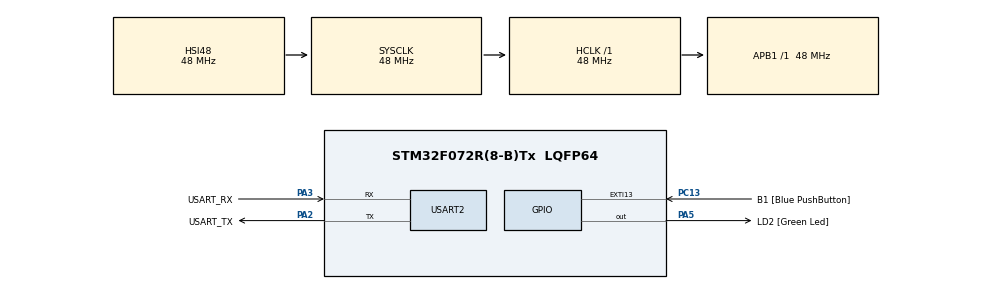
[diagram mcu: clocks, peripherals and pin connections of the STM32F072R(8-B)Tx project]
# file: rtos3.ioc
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FREERTOS.Tasks01=defaultTask,24,128,StartDefaultTask,Default,NULL,Dynamic,NULL,NULL
Mcu.Family=STM32F0
Mcu.Name=STM32F072R(8-B)Tx
Mcu.Package=LQFP64
NVIC.TIM14_IRQn=true\:3\:0\:false\:false\:true\:false\:false\:true\:true
NVIC.TimeBase=TIM14_IRQn
NVIC.TimeBaseIP=TIM14
PA13.GPIO_Label=TMS
PA13.Mode=Serial_Wire
PA13.Signal=SYS_SWDIO
PA14.GPIO_Label=TCK
PA14.Mode=Serial_Wire
PA14.Signal=SYS_SWCLK
PA2.GPIO_Label=USART_TX
PA2.GPIO_Mode=GPIO_MODE_AF_PP
PA2.GPIO_PuPd=GPIO_NOPULL
PA2.GPIO_Speed=GPIO_SPEED_FREQ_LOW
PA2.Mode=Asynchronous
PA2.Signal=USART2_TX
PA3.GPIO_Label=USART_RX
PA3.GPIO_Mode=GPIO_MODE_AF_PP
PA3.GPIO_PuPd=GPIO_NOPULL
PA3.GPIO_Speed=GPIO_SPEED_FREQ_LOW
PA3.Mode=Asynchronous
PA3.Signal=USART2_RX
PA5.GPIO_Label=LD2 [Green Led]
PA5.GPIO_Mode=GPIO_MODE_OUTPUT_PP
PA5.GPIO_PuPd=GPIO_NOPULL
PA5.GPIO_Speed=GPIO_SPEED_FREQ_LOW
PA5.Signal=GPIO_Output
PC13.GPIO_Label=B1 [Blue PushButton]
PC13.GPIO_ModeDefaultEXTI=GPIO_MODE_IT_FALLING
PC13.Signal=GPXTI13
PC14-OSC32_IN.Mode=LSE-External-Oscillator
PC14-OSC32_IN.Signal=RCC_OSC32_IN
PC15-OSC32_OUT.Mode=LSE-External-Oscillator
PC15-OSC32_OUT.Signal=RCC_OSC32_OUT
PF0-OSC_IN.Mode=HSE-External-Clock-Source
PF0-OSC_IN.Signal=RCC_OSC_IN
PF1-OSC_OUT.Signal=RCC_OSC_OUT
ProjectManager.HeapSize=0x200
ProjectManager.StackSize=0x400
ProjectManager.TargetToolchain=STM32CubeIDE
RCC.AHBFreq_Value=48000000
RCC.APB1Freq_Value=48000000
RCC.APB1TimFreq_Value=48000000
RCC.FLatency-AdvancedSettings=FLASH_LATENCY_1
RCC.HCLKFreq_Value=48000000
RCC.PLLDivider=RCC_PREDIV_DIV2
RCC.PLLMUL=RCC_PLL_MUL12
RCC.PREFETCH_ENABLE-AdvancedSettings=1
RCC.SYSCLKFreq_VALUE=48000000
RCC.SYSCLKSource=RCC_SYSCLKSOURCE_HSI48
USART2.VirtualMode=VM_ASYNC
USART2.VirtualMode-Asynchronous=VM_ASYNC
VP_FREERTOS_VS_CMSIS_V2.Mode=CMSIS_V2
VP_SYS_VS_tim14.Mode=TIM14
board=NUCLEO-F072RB

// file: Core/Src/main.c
/* USER CODE BEGIN Header */
/**
  ******************************************************************************
  * @file           : main.c
  * @brief          : Main program body
  ******************************************************************************
  * @attention
  *
  * Copyright (c) 2026 STMicroelectronics.
  * All rights reserved.
  *
  * This software is licensed under terms that can be found in the LICENSE file
  * in the root directory of this software component.
  * If no LICENSE file comes with this software, it is provided AS-IS.
  *
  ******************************************************************************
  */
/* USER CODE END Header */
#include "main.h"
#include "cmsis_os.h"
#include <string.h>
#include <stdio.h>
//#include "semphr.h"

//osThreadId_t task1Handle;
//osThreadId_t task2Handle;
//osThreadId_t producerTaskHandle;
//osThreadId_t recieverTaskHandle;

osThreadId_t nav1TaskHandle;
osThreadId_t nav2TaskHandle;
osThreadId_t workerTaskHandle;
osSemaphoreId_t navSemaphoreHandle;
osTimerId_t heartbeatTimerHandle;

/* USER CODE BEGIN Includes */
osMutexId_t uartMutexHandle;
const osMutexAttr_t uartMutex_attrs = {
  .name = "uartMutex"
};

osMessageQueueId_t MessageQueueHandle;
/* USER CODE END Includes */

UART_HandleTypeDef huart2;

/* Definitions for defaultTask */
osThreadId_t defaultTaskHandle;
const osThreadAttr_t defaultTask_attributes = {
  .name = "defaultTask",
  .stack_size = 128 * 4,
  .priority = (osPriority_t) osPriorityNormal,
};
/* USER CODE BEGIN PV */
typedef struct {
    uint32_t roll;
    uint32_t pitch;
} messageQueue_t;
typedef struct {
    uint32_t latitude;
    uint32_t altitude;
    uint32_t direction;
} NavData_t;

NavData_t navData; // global so both tasks can see it
/* USER CODE END PV */

void SystemClock_Config(void);
static void MX_GPIO_Init(void);
static void MX_USART2_UART_Init(void);
void StartDefaultTask(void *argument);

/*
const osThreadAttr_t task1_attrs = {
		.name = "Task 1",
		.priority = osPriorityNormal,
		.stack_size = 256
};
const osThreadAttr_t task2_attrs = {
		.name = "Task 2",
		.priority = osPriorityHigh,
		.stack_size = 256
};

const osThreadAttr_t producer_attrs = {
    .name = "Producer Task",
    .priority = osPriorityNormal,
    .stack_size = 128 * 4
};
const osThreadAttr_t reciever_attrs = {
    .name = "Receiver Task",
    .priority = osPriorityNormal,
    .stack_size = 128 * 4
};
*/
const osThreadAttr_t nav1_attrs = {
		.name = "Task 1",
		.priority = osPriorityNormal,
		.stack_size = 128*4,
};
const osThreadAttr_t nav2_attrs = {
		.name = "Task 2",
		.priority = osPriorityNormal,
		.stack_size = 128*4,
};
const osThreadAttr_t worker_attrs = {
		.name = "Worker Task",
		.priority = osPriorityAboveNormal,
		.stack_size = 128*4,
};
/*
void Task1(void *arguement){
	const char *msg = "[TELEMETRY] System\r\n";
	for(;;){
	if (osMutexAcquire(uartMutexHandle, osWaitForever) == osOK) {
	HAL_UART_Transmit(&huart2, (uint8_t*)msg, strlen(msg), HAL_MAX_DELAY);
	 osMutexRelease(uartMutexHandle);
	}
	osDelay(500);
	}
}
void Task2(void *arguement){
	const char *msg = "[ALERT] Engine\r\n";
	for(;;){
	if (osMutexAcquire(uartMutexHandle, osWaitForever) == osOK) {
	HAL_UART_Transmit(&huart2, (uint8_t*)msg, strlen(msg), HAL_MAX_DELAY);
	 osMutexRelease(uartMutexHandle);
	}
	osDelay(3000);
	}
}
*/

/*
void ProducerTask(void *arguement){
	messageQueue_t msg;
	for(;;){
		msg.pitch = 10;
		msg.roll = 34;
		osMessageQueuePut(MessageQueueHandle, &msg, 0, 0);
		osDelay(1000);

	}
}

void RecieverTask(void *arguement){
	messageQueue_t msg;
	for(;;){
		if (osMessageQueueGet(MessageQueueHandle, &msg, 0, osWaitForever) == osOK)
			  {
			char buf[50];
			snprintf(buf, sizeof(buf), "Pitch: %lu, Roll: %lu\r\n", msg.pitch, msg.roll);
			HAL_UART_Transmit(&huart2, (uint8_t*)buf, strlen(buf), HAL_MAX_DELAY);
			  }

	}
}
*/
void nav1Task(void *arguement){
	for(;;){
		osSemaphoreAcquire(navSemaphoreHandle,osWaitForever);
		navData.latitude = 48;
		navData.altitude = 1200;
		navData.direction = 270;
		char buf[50];
		snprintf(buf, sizeof(buf), "[NAV1] Writing - Lat: %lu, Alt: %lu, Dir: %lu\r\n", navData.latitude, navData.altitude, navData.direction);
		HAL_UART_Transmit(&huart2, (uint8_t*)buf, strlen(buf), HAL_MAX_DELAY);
		osSemaphoreRelease(navSemaphoreHandle);
		osDelay(1000);

	}
}
void nav2Task(void *arguement){

	for(;;){
	osStatus_t status = osSemaphoreAcquire(navSemaphoreHandle, osWaitForever);

	if (status == osOK) {
		char buf[50];
		snprintf(buf, sizeof(buf), "[NAV2] Reading - Lat: %lu, Alt: %lu, Dir: %lu\r\n",
		         navData.latitude, navData.altitude, navData.direction);
		HAL_UART_Transmit(&huart2, (uint8_t*)buf, strlen(buf), HAL_MAX_DELAY);
		osSemaphoreRelease(navSemaphoreHandle);
		osDelay(1000);
	}
	}

}
void workerTask(void *argument){
    for(;;){
        HAL_UART_Transmit(&huart2, (uint8_t*)"[STATUS] Navigation: Online\r\n",
                          strlen("[STATUS] Navigation: Online\r\n"), HAL_MAX_DELAY);
        osDelay(2000);
        HAL_UART_Transmit(&huart2, (uint8_t*)"[STATUS] Sensors: Online\r\n",
                          strlen("[STATUS] Sensors: Online\r\n"), HAL_MAX_DELAY);
        osDelay(2000);
        HAL_UART_Transmit(&huart2, (uint8_t*)"[STATUS] Comms: Online\r\n",
                          strlen("[STATUS] Comms: Online\r\n"), HAL_MAX_DELAY);
        osDelay(2000);
    }
}
void heartbeatCallback(void *argument)
{
    HAL_UART_Transmit(&huart2, (uint8_t*)"[HEARTBEAT] System alive\r\n", 26, HAL_MAX_DELAY);
}

int main(void)
{

  /* MCU Configuration--------------------------------------------------------*/

  /* Reset of all peripherals, Initializes the Flash interface and the Systick. */
  HAL_Init();

  /* Configure the system clock */
  SystemClock_Config();

  /* Initialize all configured peripherals */
  MX_GPIO_Init();
  MX_USART2_UART_Init();
  /* USER CODE BEGIN 2 */
  char msg[] = "Hello World\r\n";
  HAL_UART_Transmit(&huart2, (uint8_t*)msg, sizeof(msg)-1, HAL_MAX_DELAY);
  /* USER CODE END 2 */

  /* Init scheduler */
  osKernelInitialize();

  /* USER CODE BEGIN RTOS_MUTEX */
  /* add mutexes, ... */
  //uartMutexHandle = osMutexNew(&uartMutex_attrs);
  /* USER CODE END RTOS_MUTEX */

  /* USER CODE BEGIN RTOS_SEMAPHORES */
  /* add semaphores, ... */
  navSemaphoreHandle = osSemaphoreNew(1, 1, NULL);
  /* USER CODE END RTOS_SEMAPHORES */

  /* USER CODE BEGIN RTOS_TIMERS */
  /* start timers, add new ones, ... */
  heartbeatTimerHandle = osTimerNew(heartbeatCallback, osTimerPeriodic, NULL, NULL);
  osTimerStart(heartbeatTimerHandle, 1000);
  /* USER CODE END RTOS_TIMERS */

  /* USER CODE BEGIN RTOS_QUEUES */
  //MessageQueueHandle = osMessageQueueNew(5, sizeof(messageQueue_t), NULL);
  //if(MessageQueueHandle == NULL)
  //{
      // queue creation failed
    //  while(1);
 // }
  /* USER CODE END RTOS_QUEUES */

  /* Create the thread(s) */
  /* creation of defaultTask */
  defaultTaskHandle = osThreadNew(StartDefaultTask, NULL, &defaultTask_attributes);

  /* USER CODE BEGIN RTOS_THREADS */
  //task1Handle = osThreadNew(Task1, NULL, &task1_attrs);
  //task2Handle = osThreadNew(Task2, NULL, &task2_attrs);
  //1producerTaskHandle = osThreadNew(ProducerTask,NULL,&producer_attrs);
  //recieverTaskHandle = osThreadNew(RecieverTask, NULL, &reciever_attrs);
 // nav1TaskHandle = osThreadNew(nav1Task, NULL, &nav1_attrs);
  //nav2TaskHandle = osThreadNew(nav2Task, NULL, &nav2_attrs);
  workerTaskHandle = osThreadNew(workerTask, NULL, &worker_attrs);
  /* USER CODE END RTOS_THREADS */

  /* Start scheduler */
  osKernelStart();

  /* We should never get here as control is now taken by the scheduler */

  /* Infinite loop */
  while (1)
  {

  }
}

void SystemClock_Config(void)
{
  RCC_OscInitTypeDef RCC_OscInitStruct = {0};
  RCC_ClkInitTypeDef RCC_ClkInitStruct = {0};
  RCC_PeriphCLKInitTypeDef PeriphClkInit = {0};

  /** Initializes the RCC Oscillators according to the specified parameters
  * in the RCC_OscInitTypeDef structure.
  */
  RCC_OscInitStruct.OscillatorType = RCC_OSCILLATORTYPE_HSI48;
  RCC_OscInitStruct.HSI48State = RCC_HSI48_ON;
  RCC_OscInitStruct.PLL.PLLState = RCC_PLL_NONE;
  if (HAL_RCC_OscConfig(&RCC_OscInitStruct) != HAL_OK)
  {
    Error_Handler();
  }

  /** Initializes the CPU, AHB and APB buses clocks
  */
  RCC_ClkInitStruct.ClockType = RCC_CLOCKTYPE_HCLK|RCC_CLOCKTYPE_SYSCLK
                              |RCC_CLOCKTYPE_PCLK1;
  RCC_ClkInitStruct.SYSCLKSource = RCC_SYSCLKSOURCE_HSI48;
  RCC_ClkInitStruct.AHBCLKDivider = RCC_SYSCLK_DIV1;
  RCC_ClkInitStruct.APB1CLKDivider = RCC_HCLK_DIV1;

  if (HAL_RCC_ClockConfig(&RCC_ClkInitStruct, FLASH_LATENCY_1) != HAL_OK)
  {
    Error_Handler();
  }
  PeriphClkInit.PeriphClockSelection = RCC_PERIPHCLK_USART2;
  PeriphClkInit.Usart2ClockSelection = RCC_USART2CLKSOURCE_PCLK1;
  if (HAL_RCCEx_PeriphCLKConfig(&PeriphClkInit) != HAL_OK)
  {
    Error_Handler();
  }
}

static void MX_USART2_UART_Init(void)
{

  huart2.Instance = USART2;
  huart2.Init.BaudRate = 38400;
  huart2.Init.WordLength = UART_WORDLENGTH_8B;
  huart2.Init.StopBits = UART_STOPBITS_1;
  huart2.Init.Parity = UART_PARITY_NONE;
  huart2.Init.Mode = UART_MODE_TX_RX;
  huart2.Init.HwFlowCtl = UART_HWCONTROL_NONE;
  huart2.Init.OverSampling = UART_OVERSAMPLING_16;
  huart2.Init.OneBitSampling = UART_ONE_BIT_SAMPLE_DISABLE;
  huart2.AdvancedInit.AdvFeatureInit = UART_ADVFEATURE_NO_INIT;
  if (HAL_UART_Init(&huart2) != HAL_OK)
  {
    Error_Handler();
  }

}

static void MX_GPIO_Init(void)
{
  GPIO_InitTypeDef GPIO_InitStruct = {0};

  /* GPIO Ports Clock Enable */
  __HAL_RCC_GPIOC_CLK_ENABLE();
  __HAL_RCC_GPIOF_CLK_ENABLE();
  __HAL_RCC_GPIOA_CLK_ENABLE();

  /*Configure GPIO pin Output Level */
  HAL_GPIO_WritePin(LD2_GPIO_Port, LD2_Pin, GPIO_PIN_RESET);

  /*Configure GPIO pin : B1_Pin */
  GPIO_InitStruct.Pin = B1_Pin;
  GPIO_InitStruct.Mode = GPIO_MODE_IT_FALLING;
  GPIO_InitStruct.Pull = GPIO_NOPULL;
  HAL_GPIO_Init(B1_GPIO_Port, &GPIO_InitStruct);

  /*Configure GPIO pin : LD2_Pin */
  GPIO_InitStruct.Pin = LD2_Pin;
  GPIO_InitStruct.Mode = GPIO_MODE_OUTPUT_PP;
  GPIO_InitStruct.Pull = GPIO_NOPULL;
  GPIO_InitStruct.Speed = GPIO_SPEED_FREQ_LOW;
  HAL_GPIO_Init(LD2_GPIO_Port, &GPIO_InitStruct);

}

void StartDefaultTask(void *argument)
{
  for(;;)
  {
    osDelay(1);
  }
}

void HAL_TIM_PeriodElapsedCallback(TIM_HandleTypeDef *htim)
{
  if (htim->Instance == TIM14)
  {
    HAL_IncTick();
  }
}

void Error_Handler(void)
{
  __disable_irq();
  while (1)
  {
  }
}
